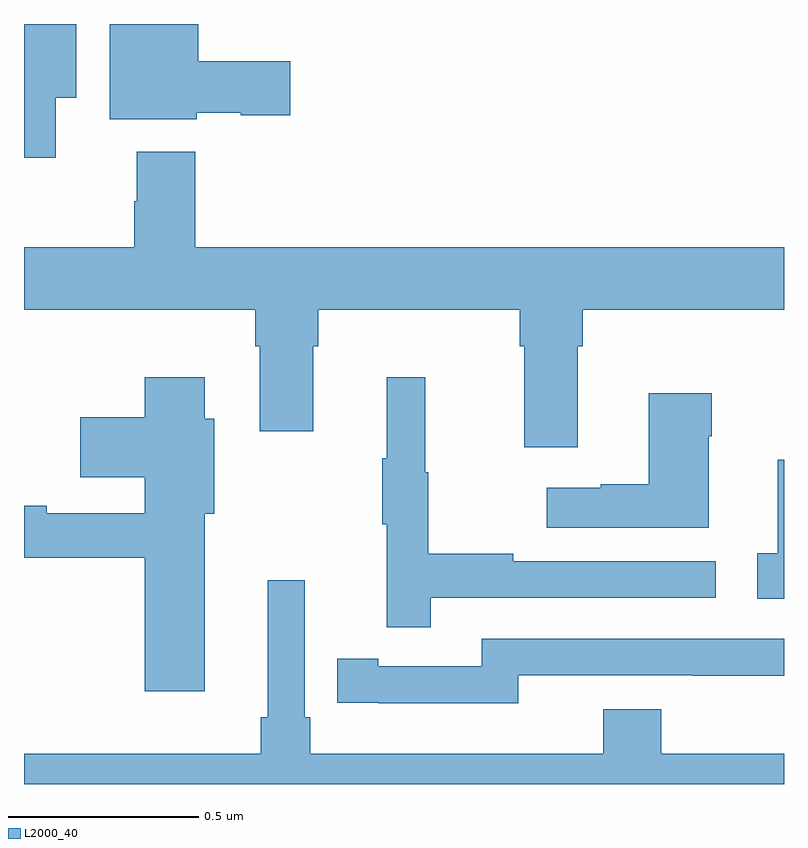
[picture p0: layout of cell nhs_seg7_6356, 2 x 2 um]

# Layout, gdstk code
import gdstk
lib = gdstk.Library(unit=1e-6, precision=1e-09)
def P(c, l, *ps):  # polygons
    for p in ps: c.add(gdstk.Polygon(p, *l))
L2000_40 = (2000, 40)

nhs_seg7_6356 = lib.new_cell('nhs_seg7_6356')
P(nhs_seg7_6356, L2000_40, [(197.083,1035.806),(197.137,1035.806),(197.137,1036),(197,1036),(197,1035.648),(197.083,1035.648)],
  [(197.454,1035.767),(197.571,1035.767),(197.571,1035.76),(197.701,1035.76),(197.701,1035.902),(197.458,1035.902),(197.458,1036),(197.225,1036),(197.225,1035.749),(197.454,1035.749)],
  [(198.457,1035.152),(198.47,1035.152),(198.47,1035.248),(199,1035.248),(199,1035.412),(197.45,1035.412),(197.45,1035.664),(197.297,1035.664),(197.297,1035.533),(197.29,1035.533),(197.29,1035.412),(197,1035.412),(197,1035.248),(197.609,1035.248),(197.609,1035.152),(197.621,1035.152),(197.621,1034.928),(197.761,1034.928),(197.761,1035.152),(197.774,1035.152),(197.774,1035.248),(198.305,1035.248),(198.305,1035.152),(198.317,1035.152),(198.317,1034.886),(198.457,1034.886)],
  [(197.476,1034.711),(197.5,1034.711),(197.5,1034.961),(197.476,1034.961),(197.476,1035.07),(197.318,1035.07),(197.318,1034.965),(197.148,1034.965),(197.148,1034.807),(197.318,1034.807),(197.318,1034.712),(197.06,1034.712),(197.06,1034.732),(197,1034.732),(197,1034.596),(197.318,1034.596),(197.318,1034.244),(197.476,1034.244)],
  [(198.071,1034.49),(198.82,1034.49),(198.82,1034.586),(198.287,1034.586),(198.287,1034.606),(198.064,1034.606),(198.064,1034.82),(198.056,1034.82),(198.056,1035.07),(197.954,1035.07),(197.954,1034.857),(197.943,1034.857),(197.943,1034.683),(197.954,1034.683),(197.954,1034.412),(198.071,1034.412)],
  [(198.802,1034.915),(198.81,1034.915),(198.81,1035.028),(198.644,1035.028),(198.644,1034.789),(198.518,1034.789),(198.518,1034.779),(198.375,1034.779),(198.375,1034.675),(198.802,1034.675)],
  [(199,1034.853),(198.983,1034.853),(198.983,1034.607),(198.93,1034.607),(198.93,1034.487),(199,1034.487)],
  [(199,1034.08),(198.677,1034.08),(198.677,1034.197),(198.524,1034.197),(198.524,1034.08),(197.753,1034.08),(197.753,1034.176),(197.739,1034.176),(197.739,1034.536),(197.642,1034.536),(197.642,1034.176),(197.623,1034.176),(197.623,1034.08),(197,1034.08),(197,1034),(199,1034)],
  [(198.3,1034.286),(198.76,1034.286),(198.76,1034.285),(199,1034.285),(199,1034.382),(198.204,1034.382),(198.204,1034.31),(197.932,1034.31),(197.932,1034.33),(197.824,1034.33),(197.824,1034.214),(197.932,1034.214),(197.932,1034.213),(198.3,1034.213)])

lib.write_gds('nhs_seg7_6356.gds')
